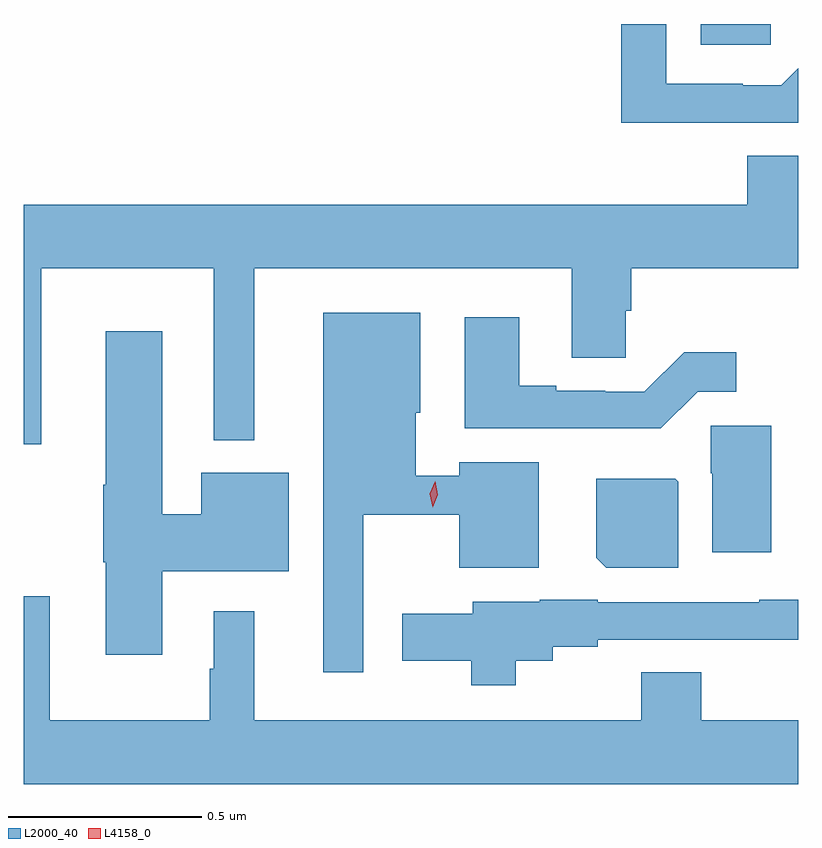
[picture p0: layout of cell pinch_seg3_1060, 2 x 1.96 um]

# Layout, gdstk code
import gdstk
lib = gdstk.Library(unit=1e-6, precision=1e-09)
def R(c, l, rs):  # rectangles x0, y0, x1, y1
    for r in rs: c.add(gdstk.rectangle(r[:2], r[2:], *l))
def P(c, l, *ps):  # polygons
    for p in ps: c.add(gdstk.Polygon(p, *l))
L2000_40 = (2000, 40)
L4158_0 = (4158, 0)

pinch_seg3_1060 = lib.new_cell('pinch_seg3_1060')
R(pinch_seg3_1060, L2000_40, [(331.598,736.125,331.779,736.178)])
P(pinch_seg3_1060, L2000_40, [(331.85,736.064),(331.806,736.02),(331.706,736.02),(331.706,736.024),(331.509,736.024),(331.509,736.178),(331.393,736.178),(331.393,735.923),(331.85,735.923)],
  [(329.896,735.548),(330.341,735.548),(330.341,735.104),(330.445,735.104),(330.445,735.548),(331.265,735.548),(331.265,735.316),(331.404,735.316),(331.404,735.438),(331.418,735.438),(331.418,735.548),(331.85,735.548),(331.85,735.838),(331.718,735.838),(331.718,735.712),(329.85,735.712),(329.85,735.093),(329.896,735.093)],
  [(330.727,734.911),(330.974,734.911),(330.974,734.774),(331.18,734.774),(331.18,735.046),(330.974,735.046),(330.974,735.012),(330.862,735.012),(330.862,735.174),(330.874,735.174),(330.874,735.433),(330.623,735.433),(330.623,734.505),(330.727,734.505)],
  [(331.59,735.228),(331.69,735.228),(331.69,735.331),(331.555,735.331),(331.452,735.228),(331.352,735.228),(331.352,735.231),(331.225,735.231),(331.225,735.244),(331.129,735.244),(331.129,735.421),(330.989,735.421),(330.989,735.134),(331.495,735.134)],
  [(330.208,734.765),(330.535,734.765),(330.535,735.019),(330.308,735.019),(330.308,734.912),(330.208,734.912),(330.208,735.385),(330.062,735.385),(330.062,734.989),(330.055,734.989),(330.055,734.789),(330.062,734.789),(330.062,734.55),(330.208,734.55)],
  [(331.78,735.141),(331.624,735.141),(331.624,735.018),(331.628,735.018),(331.628,734.814),(331.78,734.814)],
  [(331.54,734.996),(331.532,735.004),(331.328,735.004),(331.328,734.8),(331.354,734.774),(331.54,734.774)],
  [(331.85,734.38),(331.599,734.38),(331.599,734.504),(331.444,734.504),(331.444,734.38),(330.445,734.38),(330.445,734.662),(330.341,734.662),(330.341,734.513),(330.331,734.513),(330.331,734.38),(329.917,734.38),(329.917,734.701),(329.85,734.701),(329.85,734.216),(331.85,734.216)],
  [(331.12,734.534),(331.216,734.534),(331.216,734.57),(331.332,734.57),(331.332,734.589),(331.749,734.589),(331.749,734.588),(331.85,734.588),(331.85,734.692),(331.749,734.692),(331.749,734.685),(331.332,734.685),(331.332,734.692),(331.182,734.692),(331.182,734.686),(331.01,734.686),(331.01,734.656),(330.828,734.656),(330.828,734.534),(331.006,734.534),(331.006,734.471),(331.12,734.471)])
P(pinch_seg3_1060, L4158_0, [(330.906,734.931),(330.906,734.931),(330.899,734.965),(330.912,734.997),(330.912,734.997),(330.912,734.997),(330.919,734.963),(330.906,734.931)])

lib.write_gds('pinch_seg3_1060.gds')
